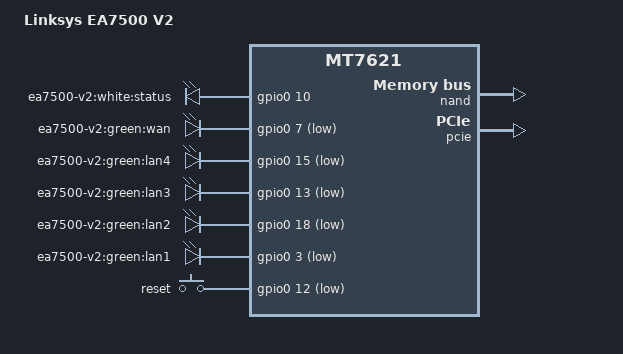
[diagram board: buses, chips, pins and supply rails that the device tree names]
// SPDX-License-Identifier: GPL-2.0
/dts-v1/;

#include "mt7621.dtsi"

#include <dt-bindings/gpio/gpio.h>
#include <dt-bindings/input/input.h>

/ {
	compatible = "linksys,ea7500-v2", "mediatek,mt7621-soc";
	model = "Linksys EA7500 V2";

	chosen {
		bootargs = "console=ttyS0,115200";
	};
	
	aliases {
		led-boot = &status;
		led-failsafe = &status;
		led-running = &status;
		led-upgrade = &status;
	};
	
	leds {
		compatible = "gpio-leds";
		
		status: status {
			label = "ea7500-v2:white:status";
			gpios = <&gpio0 10 GPIO_ACTIVE_HIGH>;
		};

		wan {
			label = "ea7500-v2:green:wan";
			gpios = <&gpio0 7 GPIO_ACTIVE_LOW>;
		};

		lan4 {
			label = "ea7500-v2:green:lan4";
			gpios = <&gpio0 15 GPIO_ACTIVE_LOW>;
		};

		lan3 {
			label = "ea7500-v2:green:lan3";
			gpios = <&gpio0 13 GPIO_ACTIVE_LOW>;
		};

		lan2 {
			label = "ea7500-v2:green:lan2";
			gpios = <&gpio0 18 GPIO_ACTIVE_LOW>;
		};

		lan1 {
			label = "ea7500-v2:green:lan1";
			gpios = <&gpio0 3 GPIO_ACTIVE_LOW>;
		};

	};
	
	keys {
		compatible = "gpio-keys";

		reset {
			label = "reset";
			gpios = <&gpio0 12 GPIO_ACTIVE_LOW>;
			linux,code = <KEY_RESTART>;
		};
	};


};

&nand {
	status = "okay";

	partitions {
		compatible = "fixed-partitions";
		#address-cells = <1>;
		#size-cells = <1>;

		partition@0 {
			label = "boot";
			reg = <0x0 0x080000>;
			read-only;
		};

		partition@80000 {
			label = "u_env";
			reg = <0x080000 0x040000>;
			read-only;
		};

		factory: partition@c0000 {
			label = "Factory";
			reg = <0x0c0000 0x040000>;
			read-only;
		};

		partition@100000 {
			label = "s_env";
			reg = <0x100000 0x040000>;
			read-only;
		};

		partition@140000 {
			label = "devinfo";
			reg = <0x140000 0x040000>;
			read-only;
		};

		partition@180000 {
			label = "kernel";
			reg = <0x180000 0x400000>; //4MB kernel
		};

		partition@580000 {
			label = "ubi";
			reg = <0x580000 0x2400000>;
		};
		
		partition@2980000 {
			label = "alt_kernel";
			reg = <0x2980000 0x400000>;
			read-only;
		};
		
		partition@2d80000 {
			label = "alt_rootfs";
			reg = <0x2d80000 0x2400000>;
			read-only;
		};
		
		partition@5180000 {
			label = "sysdiag";
			reg = <0x5180000 0x100000>;
			read-only;
		};
	
		partition@5280000 {
			label = "syscfg";
			reg = <0x5280000 0x2d00000>;
			read-only;
		};
	};
};

&pcie {
	status = "okay";
};

&pcie0 {
	mt76@0,0 {
		reg = <0x0000 0 0 0 0>;
		mediatek,mtd-eeprom = <&factory 0x0000>;
	};
};

&pcie1 {
	mt76@0,0 {
		reg = <0x0000 0 0 0 0>;
		mediatek,mtd-eeprom = <&factory 0x8000>;
		ieee80211-freq-limit = <5000000 6000000>;
	};
};

&pinctrl {
	state_default: pinctrl0 {
		gpio {
			ralink,group = "jtag", "uart2", "uart3", "wdt";
			ralink,function = "gpio";
		};
	};
};

